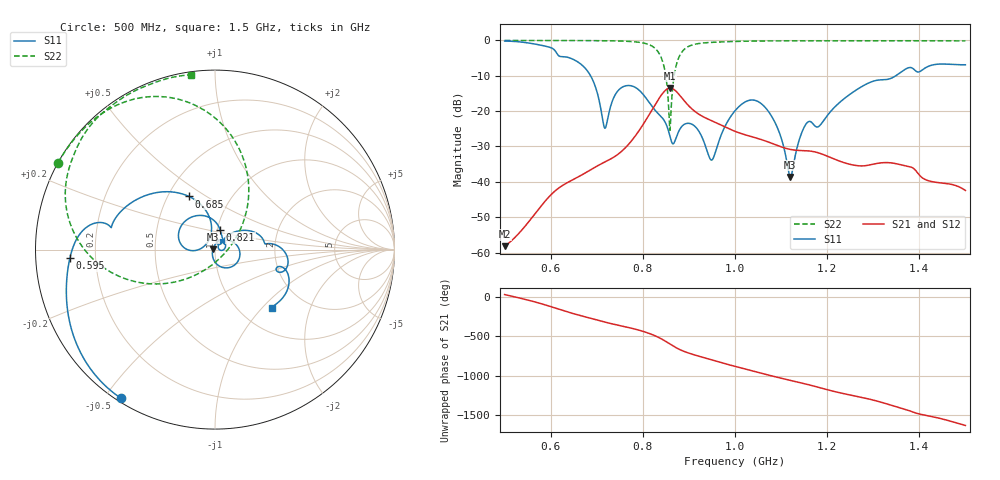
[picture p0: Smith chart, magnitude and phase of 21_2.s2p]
! TOUCHSTONE file generated by CST MICROWAVE STUDIO
! Date and time: Wed Oct 28 19:37:24 2020
! Project name: Scenario_1_Circular_Tissue_out_of_Line_v2.cst
! Parameters = {dy1=0; L_HA=400; MT=2.54; Rad_Dielectric=30; Rad_Lower=7.3; Rad_Upper=30; a_HA=580; a_WG=246; b_HA=500; b_WG=121; c_HA=0; c_WG=187; d_feed=85; dx1=346; h_feed=15; h_lower=18; h_upper=40}
! Header version: 2018
! Port assignment regex: !\s*Touchstone port\s*([0-9]+)\s*=\s*(CST MWS port|CST DS port)\s*([0-9]+|Zmin|Zmax)\s*\(\"(.*)\"\)(\s*mode\s*([0-9]+))?.*
! Touchstone port assignment:
! Touchstone port 1 = CST MWS port 1 ("")
! Touchstone port 2 = CST MWS port 2 ("")
# GHz S DB R 50
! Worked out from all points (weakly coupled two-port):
!   1003 points, 500 MHz to 1.5 GHz, reference 50 ohm
!   highest |S21| = -13.48 dB at 859 MHz (marker M1); lowest = -58.2 dB at 500 MHz (marker M2)
!   lowest |S11| = -38.6 dB at 1.12 GHz (marker M3), VSWR 1.02, Z = 48.9 + j0.261 ohm
!   |S11| at or under -10 dB: 686.6 MHz to 1.349 GHz (662.2 MHz wide, 65.1 % of centre)
!   |S22| runs from -25.4 to 0.0 dB; largest |S21 - S12| = 5.3e-06
!   S11 on the Smith chart (normalised r, x): 500 MHz: 0.01, -0.55; 595 MHz: 0.11, -0.03; 685 MHz: 0.64, +0.42; 821 MHz: 1.03, +0.23; 1.5 GHz: 1.39, -1.13
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0.5  -0.18 -122.4  -58.20 33.7  -58.20 33.7  -0.01 151.1
0.595  -1.83 -176.7  -44.42 -110.9  -44.42 -110.9  -0.02 144.5
0.667  -6.87 135.5  -38.09 121.6  -38.09 121.6  -0.04 138.3
0.685  -9.65 116.0  -36.72 93.2  -36.72 93.2  -0.05 136.5
0.718  -24.85 144.0  -34.36 41.5  -34.36 41.5  -0.09 132.5
0.76  -12.94 152.9  -30.63 -15.1  -30.63 -15.1  -0.21 125.3
0.821  -18.85 75.9  -19.41 -118.6  -19.41 -118.6  -1.70 99.0
0.834  -20.79 66.8  -16.63 -152.8  -16.63 -152.8  -3.39 84.9
0.847  -22.80 53.1  -14.36 165.8  -14.36 165.8  -8.03 61.7
0.859  -27.20 44.9  -13.48 122.0  -13.48 122.0  -25.42 -51.3
0.872  -27.61 76.2  -14.37 76.2  -14.37 76.2  -7.26 -154.3
0.889  -23.81 58.1  -16.95 29.4  -16.95 29.4  -2.63 178.9
0.917  -24.85 9.7  -20.47 -24.9  -20.47 -24.9  -0.97 158.8
0.95  -33.81 25.0  -22.75 -81.0  -22.75 -81.0  -0.54 148.4
1  -19.91 28.1  -25.72 -162.1  -25.72 -162.1  -0.29 140.2
1.066  -19.02 -64.1  -28.43 96.6  -28.43 96.6  -0.15 132.8
1.095  -25.65 -100.6  -29.85 53.7  -29.85 53.7  -0.12 130.1
1.12  -38.65 166.8  -30.83 20.1  -30.83 20.1  -0.11 127.9
1.147  -25.41 63.4  -31.17 -17.0  -31.17 -17.0  -0.11 125.7
1.167  -23.25 31.3  -31.37 -48.1  -31.37 -48.1  -0.10 124.2
1.334  -10.92 6.4  -34.58 70.9  -34.58 70.9  -0.09 111.4
1.5  -6.88 -45.6  -42.43 163.9  -42.43 163.9  -0.14 97.8
